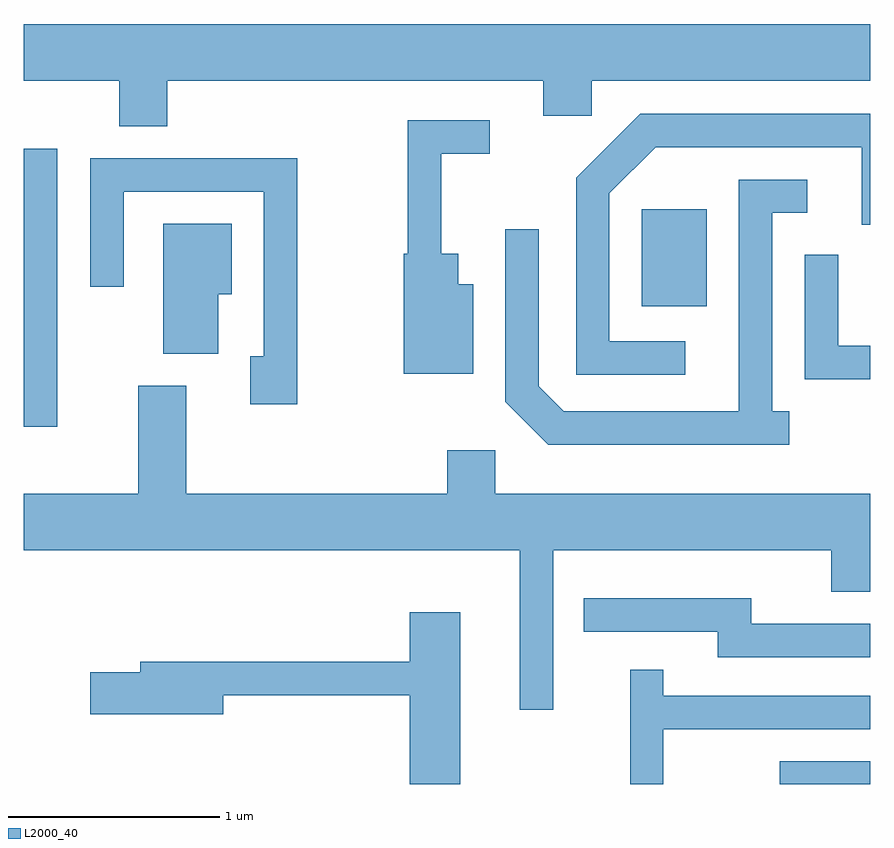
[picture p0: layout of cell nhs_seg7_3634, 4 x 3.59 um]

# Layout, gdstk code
import gdstk
lib = gdstk.Library(unit=1e-6, precision=1e-09)
def R(c, l, rs):  # rectangles x0, y0, x1, y1
    for r in rs: c.add(gdstk.rectangle(r[:2], r[2:], *l))
def P(c, l, *ps):  # polygons
    for p in ps: c.add(gdstk.Polygon(p, *l))
L2000_40 = (2000, 40)

nhs_seg7_3634 = lib.new_cell('nhs_seg7_3634')
R(nhs_seg7_3634, L2000_40, [(299.183,1784.252,299.611,1784.359), (295.611,1785.941,295.769,1787.254), (298.531,1786.511,298.839,1786.969)])
P(nhs_seg7_3634, L2000_40, [(295.611,1787.576),(296.061,1787.576),(296.061,1787.361),(296.289,1787.361),(296.289,1787.576),(298.066,1787.576),(298.066,1787.411),(298.294,1787.411),(298.294,1787.576),(299.611,1787.576),(299.611,1787.844),(295.611,1787.844)],
  [(298.738,1786.344),(298.379,1786.344),(298.379,1787.044),(298.597,1787.261),(299.571,1787.261),(299.571,1786.896),(299.611,1786.896),(299.611,1787.419),(298.524,1787.419),(298.221,1787.117),(298.221,1786.186),(298.738,1786.186)],
  [(297.734,1786.614),(297.664,1786.614),(297.664,1786.759),(297.584,1786.759),(297.584,1787.231),(297.813,1787.231),(297.813,1787.389),(297.426,1787.389),(297.426,1786.759),(297.406,1786.759),(297.406,1786.191),(297.734,1786.191)],
  [(296.904,1787.209),(295.926,1787.209),(295.926,1786.603),(296.084,1786.603),(296.084,1787.051),(296.746,1787.051),(296.746,1786.274),(296.681,1786.274),(296.681,1786.046),(296.904,1786.046)],
  [(299.228,1786.014),(299.149,1786.014),(299.149,1786.951),(299.313,1786.951),(299.313,1787.109),(298.991,1787.109),(298.991,1786.014),(298.162,1786.014),(298.044,1786.132),(298.044,1786.873),(297.886,1786.873),(297.886,1786.059),(298.089,1785.856),(299.228,1785.856)],
  [(296.529,1786.566),(296.594,1786.566),(296.594,1786.899),(296.271,1786.899),(296.271,1786.286),(296.529,1786.286)],
  [(299.611,1786.324),(299.459,1786.324),(299.459,1786.753),(299.301,1786.753),(299.301,1786.166),(299.611,1786.166)],
  [(298.114,1785.356),(299.426,1785.356),(299.426,1785.161),(299.611,1785.161),(299.611,1785.624),(297.839,1785.624),(297.839,1785.829),(297.611,1785.829),(297.611,1785.624),(296.379,1785.624),(296.379,1786.134),(296.151,1786.134),(296.151,1785.624),(295.611,1785.624),(295.611,1785.356),(297.956,1785.356),(297.956,1784.603),(298.114,1784.603)],
  [(299.611,1785.009),(299.049,1785.009),(299.049,1785.129),(298.258,1785.129),(298.258,1784.971),(298.891,1784.971),(298.891,1784.851),(299.611,1784.851)],
  [(297.674,1785.064),(297.436,1785.064),(297.436,1784.829),(296.161,1784.829),(296.161,1784.779),(295.926,1784.779),(295.926,1784.581),(296.554,1784.581),(296.554,1784.671),(297.436,1784.671),(297.436,1784.252),(297.674,1784.252)],
  [(298.634,1784.511),(299.611,1784.511),(299.611,1784.669),(298.634,1784.669),(298.634,1784.793),(298.476,1784.793),(298.476,1784.252),(298.634,1784.252)])

lib.write_gds('nhs_seg7_3634.gds')
